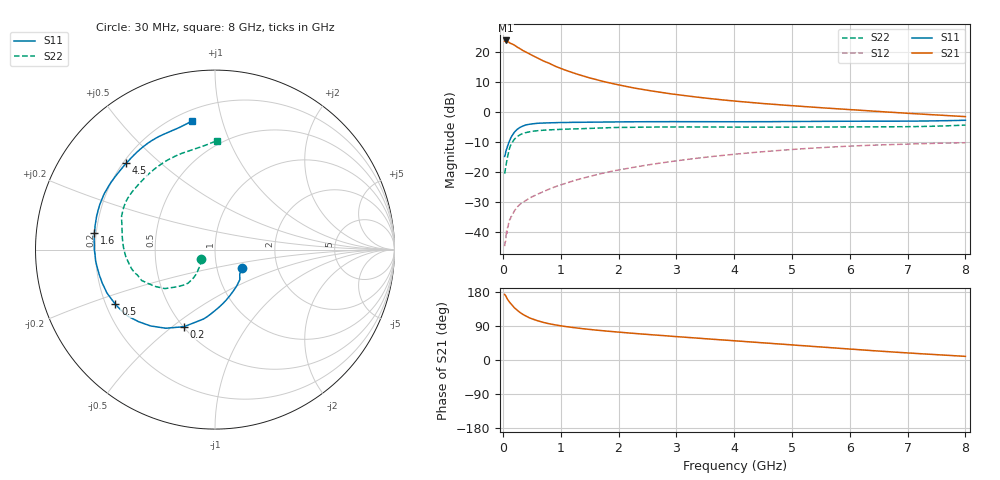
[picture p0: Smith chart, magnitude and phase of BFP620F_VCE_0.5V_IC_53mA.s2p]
! Infineon Technologies  Discrete & RF Semiconductors
! BFP620F
! VCE =  0.5 V,  IC =  53 mA
! Common Emitter S-Parameters:  Dec 2014
# GHz  S  MA  R  50
!  f  S11  S21  S12  S22
! GHz  MAG  ANG  MAG  ANG  MAG  ANG  MAG  ANG
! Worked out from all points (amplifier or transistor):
!   95 points, 30 MHz to 8 GHz, reference 50 ohm
!   highest |S21| = 23.8 dB at 50 MHz (marker M1)
!   |S21| within 3 dB of that: start of sweep to 318.5 MHz
!   unconditionally stable (mu >= 1): start of sweep to end of sweep
!   at 300 MHz: K = 1.08, MAG = 24.1 dB, |S12| = -30.6 dB
!   at 3.3 GHz: K = 1.13, MAG = 8.1 dB, |S12| = -15.5 dB
!   at 8 GHz: K = 1.14, MAG = 2.1 dB, |S12| = -10.2 dB
!   S11 on the Smith chart (normalised r, x): 30 MHz: 1.32, -0.29; 200 MHz: 0.50, -0.55; 500 MHz: 0.24, -0.24; 1.6 GHz: 0.19, +0.07; 4.5 GHz: 0.21, +0.39; 8 GHz: 0.26, +0.80
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0.03  0.183 -35.0  15.01 173.2  0.0059 51.5  0.0946 -145.9
0.04  0.1938 -44.6  14.82 171.2  0.0069 49.1  0.1068 -137.0
0.05  0.2174 -50.5  15.41 169.4  0.0072 61.1  0.1235 -132.5
0.08  0.2684 -71.7  14.98 160.3  0.0119 57.8  0.1766 -127.5
0.1  0.3036 -81.6  14.47 155.8  0.0142 57.5  0.217 -127.9
0.15  0.3915 -99.3  13.62 146.6  0.0184 57.2  0.2984 -135.9
0.2  0.4628 -111.9  12.88 137.6  0.0228 56.9  0.3539 -142.1
0.3  0.5568 -130.2  11.2 125.0  0.0295 54.9  0.4192 -153.4
0.35  0.5854 -136.7  10.43 120.0  0.0316 55.0  0.4435 -157.2
0.5  0.6332 -151.2  8.789 108.9  0.0388 56.2  0.4774 -167.2
0.6  0.6487 -158.1  7.877 103.6  0.043 56.9  0.4881 -171.8
0.8  0.6599 -167.7  6.445 95.7  0.0523 58.0  0.5039 -178.4
1.1  0.6688 -177.4  4.875 88.0  0.066 59.4  0.5181 173.9
1.4  0.6753 175.8  3.935 82.3  0.0802 59.6  0.5292 168.1
1.6  0.6781 172.0  3.482 79.1  0.0898 59.1  0.5375 164.8
2.1  0.6854 164.1  2.696 72.3  0.113 56.9  0.5538 159.2
2.7  0.6897 156.4  2.141 65.2  0.1407 53.6  0.562 153.6
4.1  0.6885 139.9  1.49 49.7  0.2023 43.0  0.5597 140.4
4.5  0.69 135.7  1.381 45.3  0.2186 39.7  0.559 135.7
5.4  0.6977 126.7  1.195 35.4  0.2522 31.7  0.562 124.6
6.7  0.7031 113.3  0.991 21.6  0.2868 19.7  0.5675 107.8
8  0.7283 100.2  0.837 9.6  0.3083 9.0  0.6058 89.2
